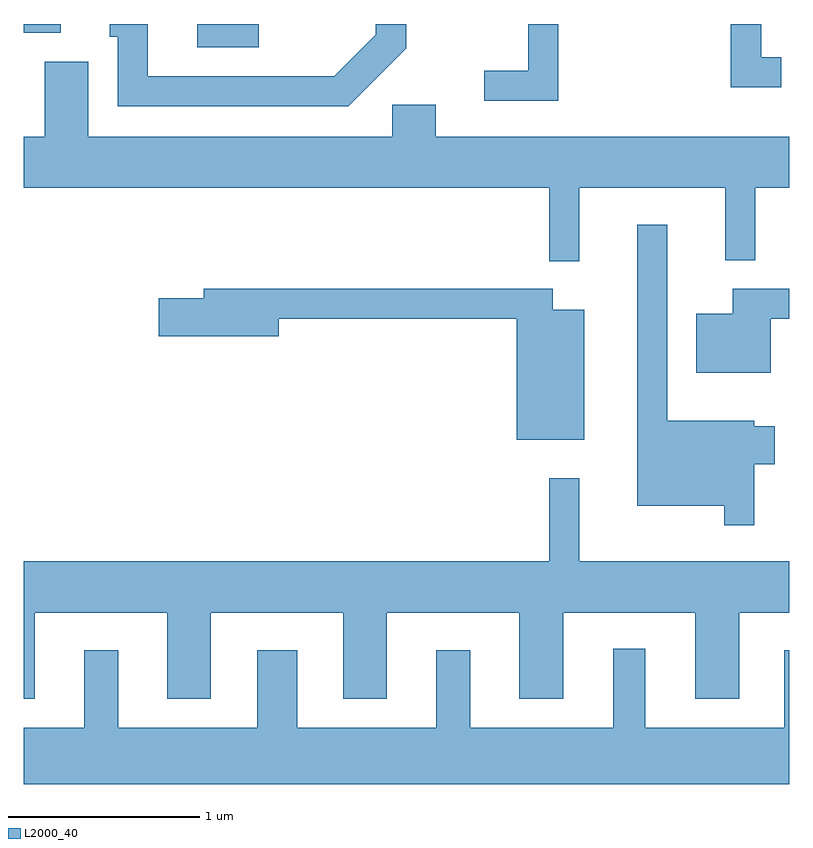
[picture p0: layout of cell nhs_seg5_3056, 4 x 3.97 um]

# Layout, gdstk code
import gdstk
lib = gdstk.Library(unit=1e-6, precision=1e-09)
def R(c, l, rs):  # rectangles x0, y0, x1, y1
    for r in rs: c.add(gdstk.rectangle(r[:2], r[2:], *l))
def P(c, l, *ps):  # polygons
    for p in ps: c.add(gdstk.Polygon(p, *l))
L2000_40 = (2000, 40)

nhs_seg5_3056 = lib.new_cell('nhs_seg5_3056')
R(nhs_seg5_3056, L2000_40, [(276.518,1481.951,276.839,1482.072), (275.611,1482.026,275.804,1482.072)])
P(nhs_seg5_3056, L2000_40, [(279.568,1481.899),(279.464,1481.899),(279.464,1482.072),(279.306,1482.072),(279.306,1481.741),(279.568,1481.741)],
  [(277.609,1481.944),(277.609,1482.072),(277.451,1482.072),(277.451,1482.017),(277.234,1481.799),(276.259,1481.799),(276.259,1482.072),(276.061,1482.072),(276.061,1482.006),(276.101,1482.006),(276.101,1481.641),(277.307,1481.641)],
  [(278.404,1482.072),(278.246,1482.072),(278.246,1481.829),(278.018,1481.829),(278.018,1481.671),(278.404,1481.671)],
  [(278.514,1481.216),(279.276,1481.216),(279.276,1480.838),(279.434,1480.838),(279.434,1481.216),(279.611,1481.216),(279.611,1481.484),(277.764,1481.484),(277.764,1481.649),(277.536,1481.649),(277.536,1481.484),(275.949,1481.484),(275.949,1481.874),(275.721,1481.874),(275.721,1481.484),(275.611,1481.484),(275.611,1481.216),(278.356,1481.216),(278.356,1480.833),(278.514,1480.833)],
  [(279.429,1479.771),(279.534,1479.771),(279.534,1479.969),(279.429,1479.969),(279.429,1479.999),(278.974,1479.999),(278.974,1481.023),(278.816,1481.023),(278.816,1479.556),(279.271,1479.556),(279.271,1479.453),(279.429,1479.453)],
  [(279.514,1480.531),(279.611,1480.531),(279.611,1480.689),(279.316,1480.689),(279.316,1480.559),(279.126,1480.559),(279.126,1480.251),(279.514,1480.251)],
  [(278.539,1480.579),(278.374,1480.579),(278.374,1480.689),(276.551,1480.689),(276.551,1480.639),(276.316,1480.639),(276.316,1480.441),(276.944,1480.441),(276.944,1480.531),(278.186,1480.531),(278.186,1479.901),(278.539,1479.901)],
  [(275.669,1478.996),(276.361,1478.996),(276.361,1478.546),(276.589,1478.546),(276.589,1478.996),(277.281,1478.996),(277.281,1478.546),(277.509,1478.546),(277.509,1478.996),(278.201,1478.996),(278.201,1478.546),(278.429,1478.546),(278.429,1478.996),(279.121,1478.996),(279.121,1478.546),(279.349,1478.546),(279.349,1478.996),(279.611,1478.996),(279.611,1479.264),(278.514,1479.264),(278.514,1479.698),(278.356,1479.698),(278.356,1479.264),(275.611,1479.264),(275.611,1478.546),(275.669,1478.546)],
  [(279.611,1478.799),(279.586,1478.799),(279.586,1478.394),(278.859,1478.394),(278.859,1478.808),(278.691,1478.808),(278.691,1478.394),(277.944,1478.394),(277.944,1478.799),(277.766,1478.799),(277.766,1478.394),(277.039,1478.394),(277.039,1478.799),(276.831,1478.799),(276.831,1478.394),(276.104,1478.394),(276.104,1478.799),(275.926,1478.799),(275.926,1478.394),(275.611,1478.394),(275.611,1478.101),(279.611,1478.101)])

lib.write_gds('nhs_seg5_3056.gds')
